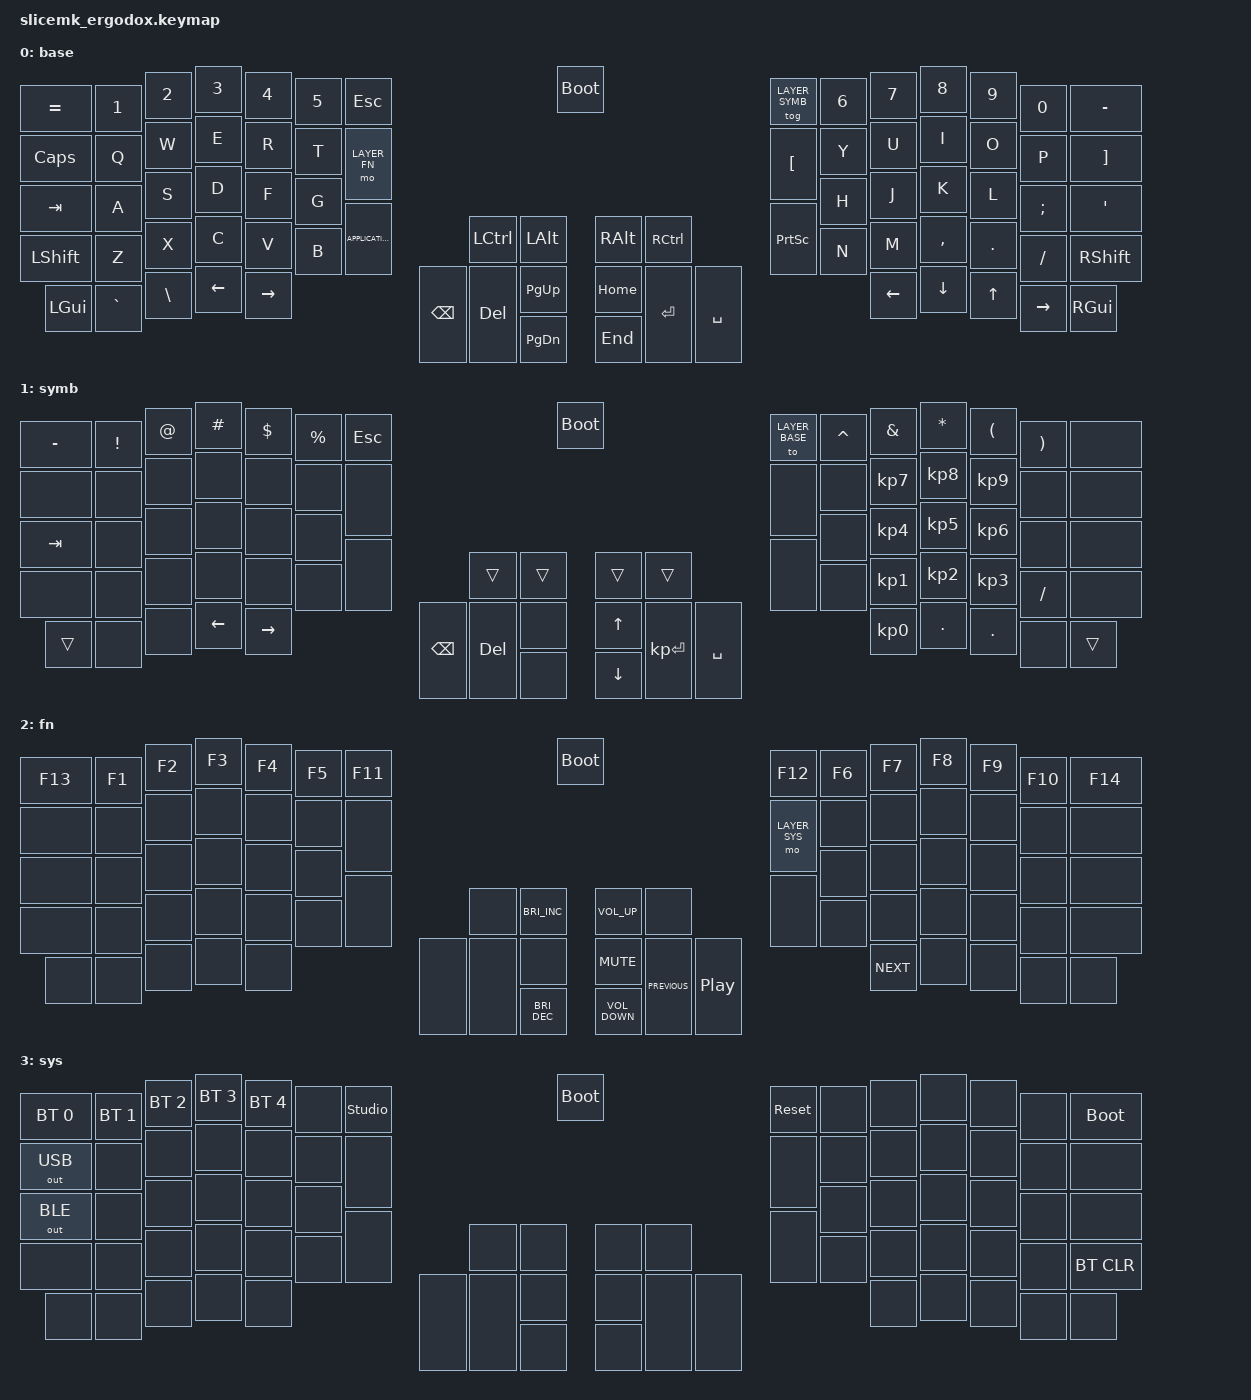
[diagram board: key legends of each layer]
#include <behaviors.dtsi>
#include <dt-bindings/zmk/bt.h>
#include <dt-bindings/zmk/keys.h>
#include <dt-bindings/zmk/outputs.h>

#define LAYER_BASE 0
#define LAYER_SYMB 1
#define LAYER_FN 2
#define LAYER_SYS 3

/ {
	// ZMK Studio needs the physical layout (which carries the transform) rather
	// than a directly chosen matrix transform. This lives here, not in the
	// overlay, because the keymap is applied after the shield.
	chosen {
		/delete-property/ zmk,matrix_transform;
	};

	keymap {
		compatible = "zmk,keymap";

		layer_0 {
			display-name = "base";
			bindings = <
				&bootloader
				&kp EQUAL      &kp NUMBER_1 &kp NUMBER_2  &kp NUMBER_3   &kp NUMBER_4    &kp NUMBER_5     &kp ESCAPE        &tog LAYER_SYMB  &kp NUMBER_6      &kp NUMBER_7   &kp NUMBER_8   &kp NUMBER_9 &kp NUMBER_0    &kp MINUS
				&kp CAPSLOCK   &kp Q        &kp W         &kp E          &kp R           &kp T            &mo LAYER_FN      &kp LEFT_BRACKET &kp Y             &kp U          &kp I          &kp O        &kp P           &kp RIGHT_BRACKET
				&kp TAB        &kp A        &kp S         &kp D          &kp F           &kp G                                               &kp H             &kp J          &kp K          &kp L        &kp SEMICOLON   &kp SINGLE_QUOTE
				&kp LEFT_SHIFT &kp Z        &kp X         &kp C          &kp V           &kp B            &kp K_APPLICATION &kp PRINTSCREEN  &kp N             &kp M          &kp COMMA      &kp PERIOD   &kp SLASH       &kp RIGHT_SHIFT
				&kp LEFT_GUI   &kp GRAVE    &kp BACKSLASH &kp LEFT_ARROW &kp RIGHT_ARROW                                                                       &kp LEFT_ARROW &kp DOWN_ARROW &kp UP_ARROW &kp RIGHT_ARROW &kp RIGHT_GUI
				                                                                         &kp LEFT_CONTROL &kp LEFT_ALT      &kp RIGHT_ALT    &kp RIGHT_CONTROL
				                                                         &kp BACKSPACE   &kp DELETE       &kp PAGE_UP       &kp HOME         &kp RETURN        &kp SPACE
				                                                                                          &kp PAGE_DOWN     &kp END
			>;
		};

		layer_1 {
			display-name = "symb";
			bindings = <
				&bootloader
				&kp MINUS &kp EXCLAMATION &kp AT_SIGN &kp HASH       &kp DOLLAR      &kp PERCENT &kp ESCAPE &to LAYER_BASE &kp CARET    &kp AMPERSAND   &kp ASTERISK    &kp LEFT_PARENTHESIS &kp RIGHT_PARENTHESIS &none
				&none     &none           &none       &none          &none           &none       &none      &none          &none        &kp KP_NUMBER_7 &kp KP_NUMBER_8 &kp KP_NUMBER_9      &none                 &none
				&kp TAB   &none           &none       &none          &none           &none                                 &none        &kp KP_NUMBER_4 &kp KP_NUMBER_5 &kp KP_NUMBER_6      &none                 &none
				&none     &none           &none       &none          &none           &none       &none      &none          &none        &kp KP_NUMBER_1 &kp KP_NUMBER_2 &kp KP_NUMBER_3      &kp SLASH             &none
				&trans    &none           &none       &kp LEFT_ARROW &kp RIGHT_ARROW                                                    &kp KP_NUMBER_0 &kp PERIOD      &kp PERIOD           &none                 &trans
				                                                                     &trans      &trans     &trans         &trans
				                                                     &kp BACKSPACE   &kp DELETE  &none      &kp UP_ARROW   &kp KP_ENTER &kp SPACE
				                                                                                 &none      &kp DOWN_ARROW
			>;
		};

		layer_2 {
			display-name = "fn";
			bindings = <
				&bootloader
				&kp F13 &kp F1 &kp F2 &kp F3 &kp F4 &kp F5 &kp F11              &kp F12           &kp F6         &kp F7           &kp F8 &kp F9 &kp F10 &kp F14
				&none   &none  &none  &none  &none  &none  &none                &mo LAYER_SYS     &none          &none            &none  &none  &none   &none
				&none   &none  &none  &none  &none  &none                                         &none          &none            &none  &none  &none   &none
				&none   &none  &none  &none  &none  &none  &none                &none             &none          &none            &none  &none  &none   &none
				&none   &none  &none  &none  &none                                                               &kp C_NEXT       &none  &none  &none   &none
				                                    &none  &kp C_BRIGHTNESS_INC &kp C_VOLUME_UP   &none
				                             &none  &none  &none                &kp C_MUTE        &kp C_PREVIOUS &kp C_PLAY_PAUSE
				                                           &kp C_BRIGHTNESS_DEC &kp C_VOLUME_DOWN
			>;
		};

		layer_3 {
			display-name = "sys";
			bindings = <
				&bootloader
				&bt BT_SEL 0 &bt BT_SEL 1 &bt BT_SEL 2 &bt BT_SEL 3 &bt BT_SEL 4 &none &studio_unlock &sys_reset &none &none &none &none &none &bootloader
				&out OUT_USB &none        &none        &none        &none        &none &none          &none      &none &none &none &none &none &none
				&out OUT_BLE &none        &none        &none        &none        &none                           &none &none &none &none &none &none
				&none        &none        &none        &none        &none        &none &none          &none      &none &none &none &none &none &bt BT_CLR
				&none        &none        &none        &none        &none                                              &none &none &none &none &none
				                                                                 &none &none          &none      &none
				                                                    &none        &none &none          &none      &none &none
				                                                                       &none          &none
			>;
		};

		extra_1 {
			display-name = "extra1";
			status = "reserved";
		};

		extra_2 {
			display-name = "extra2";
			status = "reserved";
		};

		extra_3 {
			display-name = "extra3";
			status = "reserved";
		};
	};
};
